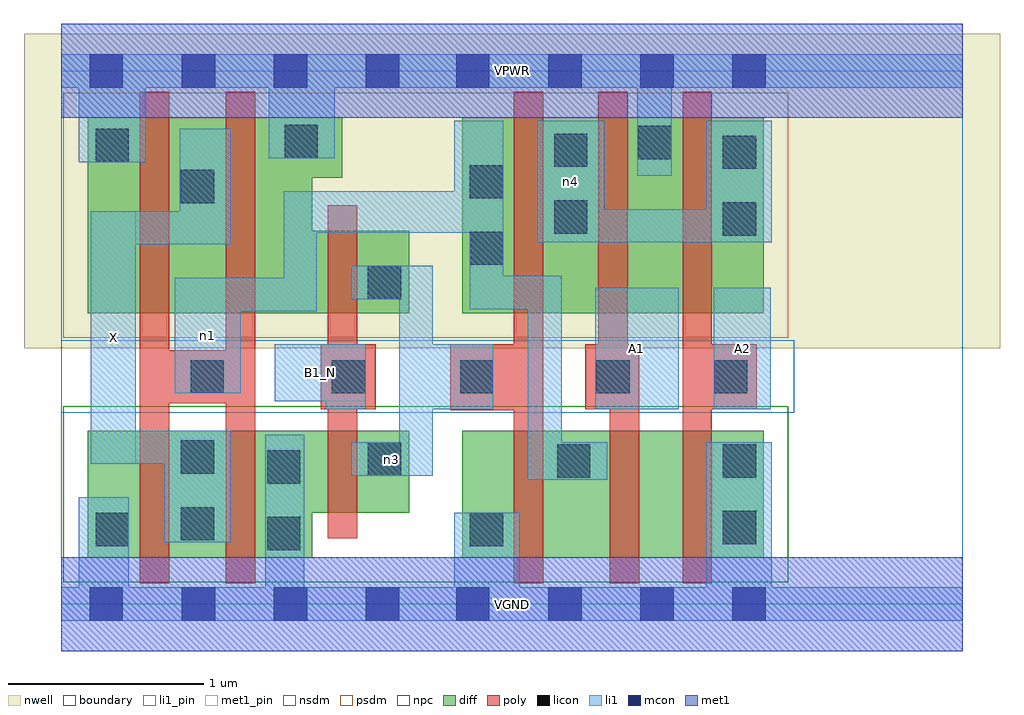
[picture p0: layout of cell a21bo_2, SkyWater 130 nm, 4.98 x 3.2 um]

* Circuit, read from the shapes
.subckt a21bo_2 A1 A2 B1_N VGND VPWR X n1 n3 n4
XM1 X n1 VGND VSUBS sky130_fd_pr__nfet_01v8 w=0.65 l=0.15 m=2
XM2 n3 B1_N VGND VSUBS sky130_fd_pr__nfet_01v8 w=0.42 l=0.15
XM3 n1 n3 VGND VSUBS sky130_fd_pr__nfet_01v8 w=0.65 l=0.15
XM4 n2 A1 n1 VSUBS sky130_fd_pr__nfet_01v8 w=0.65 l=0.15
XM5 VGND A2 n2 VSUBS sky130_fd_pr__nfet_01v8 w=0.65 l=0.15
XM6 X n1 VPWR n5 sky130_fd_pr__pfet_01v8 w=1 l=0.15 m=2
XM7 n3 B1_N VPWR n5 sky130_fd_pr__pfet_01v8 w=0.42 l=0.15
XM8 n4 n3 n1 n5 sky130_fd_pr__pfet_01v8 w=1 l=0.15
XM9 VPWR A1 n4 n5 sky130_fd_pr__pfet_01v8 w=1 l=0.15
XM10 n4 A2 VPWR n5 sky130_fd_pr__pfet_01v8 w=1 l=0.15
.ends

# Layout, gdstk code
import gdstk
lib = gdstk.Library(unit=1e-6, precision=1e-09)
def R(c, l, rs):  # rectangles x0, y0, x1, y1
    for r in rs: c.add(gdstk.rectangle(r[:2], r[2:], *l))
def A(c, l, x, y, w, h, nx, ny, dx, dy):  # array of equal rectangles
    R(c, l, [(x+i*dx, y+j*dy, x+i*dx+w, y+j*dy+h) for i in range(nx) for j in range(ny)])
nwell = (64, 20)
diff = (65, 20)
poly = (66, 20)
licon = (66, 44)
li1_pin = (67, 16)
li1 = (67, 20)
mcon = (67, 44)
met1_pin = (68, 16)
met1 = (68, 20)
nsdm = (93, 44)
psdm = (94, 20)
npc = (95, 20)
boundary = (235, 4)

a21bo_2 = lib.new_cell('a21bo_2')
R(a21bo_2, nwell, [(-0.19,1.305,4.79,2.91), (0,1.305,4.6,2.91)])
R(a21bo_2, diff, [(0.135,0.235,1.28,0.885), (2.045,0.235,3.585,0.885), (0.135,0.465,1.775,0.885), (0.135,1.485,1.775,1.905), (0.135,1.485,1.28,2.485), (2.045,1.485,3.585,2.485), (0.135,2.175,1.435,2.485)])
R(a21bo_2, poly, [(0.4,0.105,0.55,2.615), (0.84,0.105,0.99,2.615), (2.31,0.105,2.46,2.615), (2.8,0.105,2.95,1.325), (3.17,0.105,3.32,2.615), (1.36,0.335,1.51,2.035), (1.985,0.99,2.46,1.325), (1.325,0.995,1.605,1.325), (2.675,0.995,2.95,1.325), (2.74,0.995,2.89,2.615), (3.17,0.995,3.55,1.325), (0.4,1.025,0.99,1.295)])
R(a21bo_2, licon, [(1.05,0.275,1.22,0.445), (0.175,0.295,0.345,0.465), (2.085,0.295,2.255,0.465), (3.375,0.305,3.545,0.475), (0.61,0.325,0.78,0.495), (1.05,0.615,1.22,0.785), (2.53,0.645,2.7,0.815), (3.375,0.645,3.545,0.815), (1.565,0.655,1.735,0.825), (0.61,0.665,0.78,0.835), (0.66,1.075,0.83,1.245), (1.38,1.075,1.55,1.245), (2.035,1.075,2.205,1.245), (2.73,1.075,2.9,1.245), (3.33,1.075,3.5,1.245), (1.565,1.555,1.735,1.725), (2.085,1.73,2.255,1.9), (3.375,1.88,3.545,2.05), (2.515,1.89,2.685,2.06), (0.61,2.045,0.78,2.215), (2.085,2.07,2.255,2.24), (3.375,2.22,3.545,2.39), (2.515,2.23,2.685,2.4), (0.175,2.255,0.345,2.425), (2.945,2.27,3.115,2.44), (1.14,2.275,1.31,2.445)])
R(a21bo_2, li1_pin, [(0.15,0.715,0.38,2.005), (2.725,0.995,3.15,1.615), (3.33,0.995,3.62,1.615), (1.09,1.035,1.555,1.325)])
R(a21bo_2, li1, [(0,-0.085,4.6,0.085), (0.09,-0.085,0.345,0.545), (1.04,-0.085,1.24,0.865), (2.005,-0.085,2.34,0.465), (3.29,-0.085,3.625,0.825), (0.525,0.315,0.865,0.885), (2.38,0.635,2.555,1.675), (2.38,0.635,2.785,0.825), (1.48,0.655,1.895,0.825), (1.725,0.655,1.895,1.725), (0.15,0.715,0.38,2.005), (0.15,0.715,0.865,0.885), (1.35,0.995,1.555,1.325), (1.725,0.995,2.205,1.325), (2.725,0.995,3.15,1.615), (3.33,0.995,3.62,1.615), (1.09,1.035,1.555,1.325), (0.58,1.075,0.915,1.665), (0.58,1.495,1.305,1.665), (1.135,1.495,1.305,2.105), (2.085,1.505,2.255,2.465), (2.085,1.505,2.555,1.675), (1.48,1.555,1.895,1.725), (0.15,1.835,0.865,2.005), (0.605,1.835,0.865,2.425), (2.43,1.845,2.77,2.465), (2.43,1.845,3.625,2.015), (3.29,1.845,3.625,2.465), (1.135,1.895,2.255,2.105), (2.005,1.895,2.255,2.465), (2.94,2.185,3.115,2.805), (0.09,2.255,0.43,2.805), (1.06,2.275,1.395,2.805), (0,2.635,4.6,2.805)])
A(a21bo_2, mcon, 0.145, -0.085, 0.17, 0.17, 4, 2, 0.47, 2.72)
A(a21bo_2, mcon, 2.015, -0.085, 0.17, 0.17, 4, 2, 0.47, 2.72)
R(a21bo_2, met1_pin, [(0,-0.24,4.6,0.24), (0,2.48,4.6,2.96)])
R(a21bo_2, met1, [(0,-0.24,4.6,0.24), (0,2.48,4.6,2.96)])
R(a21bo_2, nsdm, [(0.01,0.11,3.71,1.01)])
R(a21bo_2, psdm, [(0.01,1.36,3.71,2.61)])
R(a21bo_2, npc, [(0,0.975,3.74,1.345)])
R(a21bo_2, boundary, [(0,0,4.6,2.72)])
a21bo_2.add(gdstk.Label('A1', (2.937,1.305), layer=67, texttype=5))
a21bo_2.add(gdstk.Label('A2', (3.475,1.305), layer=67, texttype=5))
a21bo_2.add(gdstk.Label('B1_N', (1.322,1.18), layer=67, texttype=5))
a21bo_2.add(gdstk.Label('X', (0.265,1.36), layer=67, texttype=5))
a21bo_2.add(gdstk.Label('n3', (1.687,0.74), layer=67, texttype=5))
a21bo_2.add(gdstk.Label('n1', (0.747,1.37), layer=67, texttype=5))
a21bo_2.add(gdstk.Label('n4', (2.6,2.155), layer=67, texttype=5))
a21bo_2.add(gdstk.Label('VPWR', (2.3,2.72), layer=68, texttype=5))
a21bo_2.add(gdstk.Label('VGND', (2.3,0), layer=68, texttype=5))
a21bo_2.add(gdstk.Label('A1', (2.937,1.305), layer=67, texttype=16))
a21bo_2.add(gdstk.Label('A2', (3.475,1.305), layer=67, texttype=16))
a21bo_2.add(gdstk.Label('B1_N', (1.322,1.18), layer=67, texttype=16))
a21bo_2.add(gdstk.Label('X', (0.265,1.36), layer=67, texttype=16))
a21bo_2.add(gdstk.Label('VPWR', (2.3,2.72), layer=68, texttype=16))
a21bo_2.add(gdstk.Label('VGND', (2.3,0), layer=68, texttype=16))

lib.write_gds('a21bo_2.gds')
